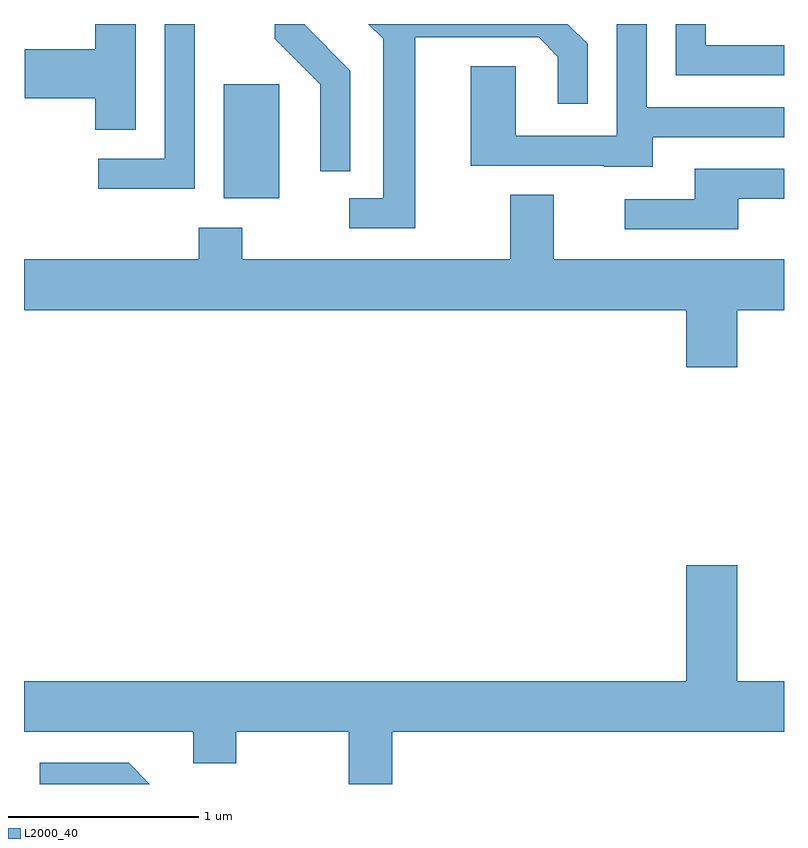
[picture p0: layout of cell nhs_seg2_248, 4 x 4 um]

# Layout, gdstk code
import gdstk
lib = gdstk.Library(unit=1e-6, precision=1e-09)
def R(c, l, rs):  # rectangles x0, y0, x1, y1
    for r in rs: c.add(gdstk.rectangle(r[:2], r[2:], *l))
def P(c, l, *ps):  # polygons
    for p in ps: c.add(gdstk.Polygon(p, *l))
L2000_40 = (2000, 40)

nhs_seg2_248 = lib.new_cell('nhs_seg2_248')
R(nhs_seg2_248, L2000_40, [(192.661,1068.886,192.954,1069.484)])
P(nhs_seg2_248, L2000_40, [(192.199,1069.802),(191.986,1069.802),(191.986,1069.669),(191.616,1069.669),(191.616,1069.411),(191.986,1069.411),(191.986,1069.246),(192.199,1069.246)],
  [(193.669,1069.731),(194.319,1069.731),(194.421,1069.629),(194.421,1069.383),(194.579,1069.383),(194.579,1069.697),(194.474,1069.802),(193.423,1069.802),(193.501,1069.724),(193.501,1068.884),(193.323,1068.884),(193.323,1068.726),(193.669,1068.726)],
  [(194.919,1069.206),(195.611,1069.206),(195.611,1069.364),(194.889,1069.364),(194.889,1069.802),(194.731,1069.802),(194.731,1069.214),(194.199,1069.214),(194.199,1069.579),(193.961,1069.579),(193.961,1069.056),(194.665,1069.056),(194.665,1069.051),(194.919,1069.051)],
  [(192.509,1069.802),(192.351,1069.802),(192.351,1069.094),(192.003,1069.094),(192.003,1068.936),(192.509,1068.936)],
  [(193.329,1069.557),(193.089,1069.797),(193.089,1069.802),(192.931,1069.802),(192.931,1069.724),(193.171,1069.484),(193.171,1069.028),(193.329,1069.028)],
  [(195.611,1069.689),(195.199,1069.689),(195.199,1069.802),(195.041,1069.802),(195.041,1069.531),(195.611,1069.531)],
  [(195.369,1068.881),(195.611,1068.881),(195.611,1069.039),(195.141,1069.039),(195.141,1068.879),(194.773,1068.879),(194.773,1068.721),(195.369,1068.721)],
  [(195.364,1068.296),(195.611,1068.296),(195.611,1068.564),(194.399,1068.564),(194.399,1068.904),(194.171,1068.904),(194.171,1068.564),(192.759,1068.564),(192.759,1068.729),(192.531,1068.729),(192.531,1068.564),(191.611,1068.564),(191.611,1068.296),(195.096,1068.296),(195.096,1067.996),(195.364,1067.996)],
  [(193.549,1066.076),(195.611,1066.076),(195.611,1066.344),(195.364,1066.344),(195.364,1066.954),(195.096,1066.954),(195.096,1066.344),(191.611,1066.344),(191.611,1066.076),(192.501,1066.076),(192.501,1065.911),(192.729,1065.911),(192.729,1066.076),(193.321,1066.076),(193.321,1065.802),(193.549,1065.802)],
  [(192.162,1065.914),(191.693,1065.914),(191.693,1065.802),(192.274,1065.802)])

lib.write_gds('nhs_seg2_248.gds')
